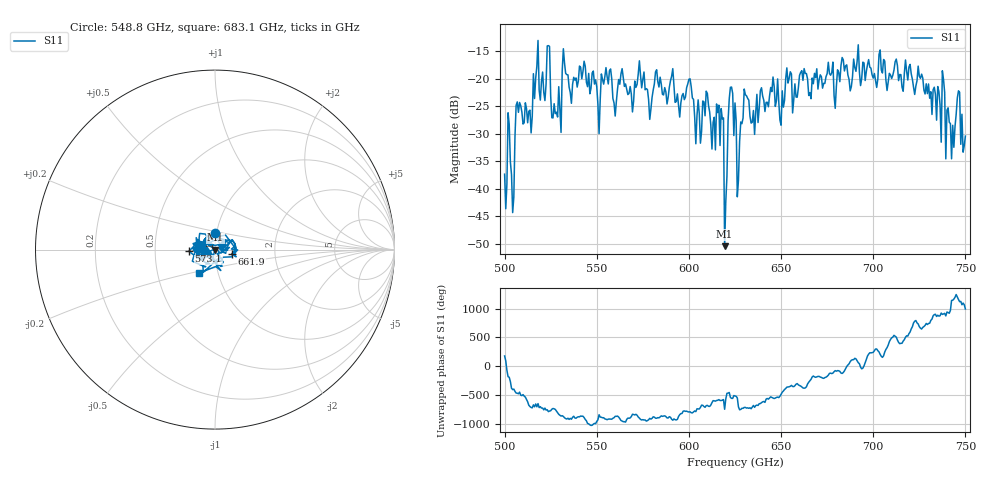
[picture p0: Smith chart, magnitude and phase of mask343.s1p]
!Created with skrf (http://scikit-rf.org).
# GHz S MA R 50.0
!freq magS11 angS11
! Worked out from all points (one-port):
!   401 points, 500 GHz to 750 GHz, reference 50 ohm
!   lowest |S11| = -50.5 dB at 619.4 GHz (marker M1), VSWR 1.01, Z = 50.3 - j0.119 ohm
!   |S11| at or under -10 dB: start of sweep to end of sweep
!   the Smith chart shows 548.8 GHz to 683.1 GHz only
!   S11 on the Smith chart (normalised r, x): 548.8 GHz: 0.98, +0.18; 573.1 GHz: 0.75, -0.01; 661.9 GHz: 1.21, -0.06; 683.1 GHz: 0.81, -0.22
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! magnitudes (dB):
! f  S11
! 500 GHz  -37.3
! 502.5 GHz  -28.3
! 504.4 GHz  -44.3
! 507.5 GHz  -26.1
! 513.8 GHz  -25.7
! 516.9 GHz  -19.8
! 523.8 GHz  -13.9
! 526.9 GHz  -24.5
! 531.2 GHz  -18.5
! 548.8 GHz  -20.9
! 562.5 GHz  -21.0
! 573.1 GHz  -16.7
! 593.8 GHz  -22.7
! 616.2 GHz  -24.8
! 619.4 GHz  -50.5
! 620.6 GHz  -37.8
! 622.5 GHz  -21.5
! 625 GHz  -24.4
! 627.5 GHz  -31.4
! 631.2 GHz  -23.1
! 656.2 GHz  -26.2
! 661.9 GHz  -20.3
! 683.1 GHz  -16.1
! 687.5 GHz  -22.2
! 718.8 GHz  -20.2
! 742.5 GHz  -34.5
! 745.6 GHz  -23.5
! 750 GHz  -30.4
